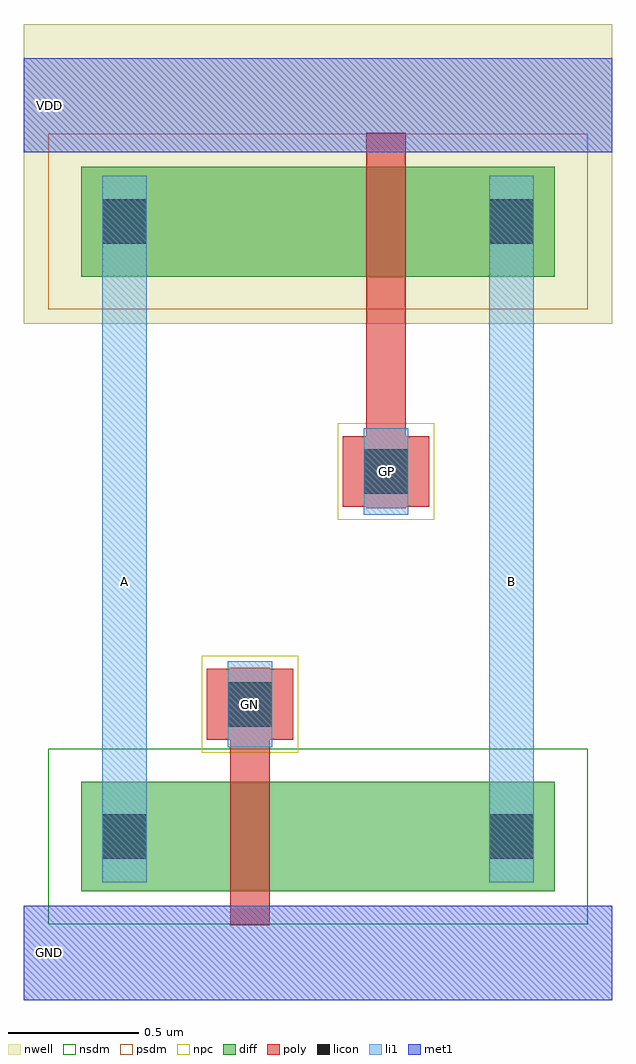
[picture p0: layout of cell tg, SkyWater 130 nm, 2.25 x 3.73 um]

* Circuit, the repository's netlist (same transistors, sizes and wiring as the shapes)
* NGSPICE file created from tg.ext - technology: sky130A

.subckt tg A B GN GP VDD GND
X0 B GN A VSUBS sky130_fd_pr__nfet_01v8 ad=0.4578 pd=3.02 as=0.2394 ps=1.98 w=0.42 l=0.15
X1 B GP A w_0_481# sky130_fd_pr__pfet_01v8 ad=0.2394 pd=1.98 as=0.4578 ps=3.02 w=0.42 l=0.15
.ends

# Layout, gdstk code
import gdstk
lib = gdstk.Library(unit=1e-6, precision=1e-09)
def R(c, l, rs):  # rectangles x0, y0, x1, y1
    for r in rs: c.add(gdstk.rectangle(r[:2], r[2:], *l))
nwell = (64, 20)
diff = (65, 20)
poly = (66, 20)
licon = (66, 44)
li1 = (67, 20)
met1 = (68, 20)
nsdm = (93, 44)
psdm = (94, 20)
npc = (95, 20)

c_tg = lib.new_cell('tg')
R(c_tg, nwell, [(0,2.405,2.25,3.55)])
R(c_tg, diff, [(0.22,0.235,2.03,0.655), (0.22,2.585,2.03,3.005)])
R(c_tg, poly, [(0.79,0.105,0.94,0.815), (0.7,0.815,1.03,1.085), (0.79,1.085,0.94,1.09), (1.31,1.7,1.46,1.705), (1.22,1.705,1.55,1.975), (1.31,1.975,1.46,3.135)])
R(c_tg, licon, [(0.3,0.36,0.47,0.53), (1.78,0.36,1.95,0.53), (0.78,0.865,0.95,1.035), (1.3,1.755,1.47,1.925), (0.3,2.71,0.47,2.88), (1.78,2.71,1.95,2.88)])
R(c_tg, li1, [(0.3,0.27,0.47,2.97), (1.78,0.27,1.95,2.97), (0.78,0.785,0.95,1.115), (1.3,1.675,1.47,2.005)])
R(c_tg, met1, [(0,-0.18,2.25,0.18), (0,3.06,2.25,3.42)])
R(c_tg, nsdm, [(0.095,0.11,2.155,0.78)])
R(c_tg, psdm, [(0.095,2.46,2.155,3.13)])
R(c_tg, npc, [(0.68,0.765,1.05,1.135), (1.2,1.655,1.57,2.025)])
c_tg.add(gdstk.Label('A', (0.385,1.42), layer=67, texttype=5))
c_tg.add(gdstk.Label('B', (1.865,1.42), layer=67, texttype=5))
c_tg.add(gdstk.Label('GN', (0.865,0.95), layer=67, texttype=5))
c_tg.add(gdstk.Label('GP', (1.385,1.84), layer=67, texttype=5))
c_tg.add(gdstk.Label('VDD', (0.1,3.24), layer=68, texttype=5))
c_tg.add(gdstk.Label('GND', (0.1,0), layer=68, texttype=5))

lib.write_gds('tg.gds')
